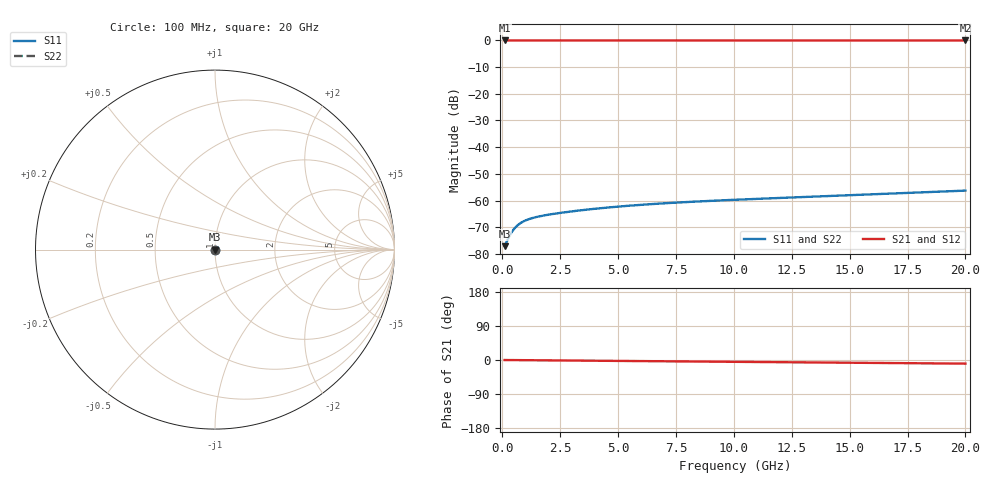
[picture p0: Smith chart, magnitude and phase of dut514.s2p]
! Touchstone file exported from HFSS 2026.1.0
!  File:  C:/ffzhzh/LocalFiles/Ansys_Project_Files/temp_train_TSV_514_1783023380_55676.aedt
!  Generated:  04:17:47 AM Jul  3, 2026
!  Design:  TSV
!  Project:  temp_train_TSV_514_1783023380_55676
! Variables:
!  h_bsmrdl = 2um
!  h_ox = 20um
!  h_rdl = 5um
!  h_sub = 98.72um
!  h_tmrdl = 5um
!  h_tsv = 98.72um
!  h_via = 3um
!  l_bsmrdl = 300um
!  l_sub = 421.92um
!  l_tmrdl = 200um
!  m_sub = 200um
!  pitch = 44.35um
!  r_tsv = 10.96um
!  s_tmrdl = 10um
!  w_bsmrdl = 18um
!  w_sub = 500um
!  w_tmrdl = 12um
!  x_tsv_center1 = 206um
!  x_tsv_center2 = 524um
!  x_tsv_center3 = 736um
!  x_tsv_center4 = 1054um
!  x_tsv_center5 = 1266um
!  x_tsv_center6 = 1584um
# GHz S MA R 50.000000
! Terminal data exported
! Port[1] = TSV1_1_T1
! Port[2] = TSV1_1_T2
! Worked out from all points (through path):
!   200 points, 100 MHz to 20 GHz, reference 50 ohm
!   highest |S21| = 0.00 dB at 100 MHz (marker M1); lowest = 0.0 dB at 20 GHz (marker M2)
!   group delay of S21, straight-line fit = 1.33 ps
!   lowest |S11| = -77.1 dB at 100 MHz (marker M3), VSWR 1.00, Z = 50 + j0.00484 ohm
!   |S11| at or under -10 dB: start of sweep to end of sweep
!   |S22| runs from -77.1 to -56.3 dB; largest |S21 - S12| = 4.3e-15
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0.1  0.0001395 20.3  0.9999 -0.1  0.9999 -0.1  0.0001395 20.3
! Gamma 0 0 0 0
! Port Impedance 50 0 50 0
0.3  0.0002133 38.5  0.9998 -0.2  0.9998 -0.2  0.0002133 38.5
0.4  0.000254 40.5  0.9998 -0.2  0.9998 -0.2  0.000254 40.5
0.5  0.0002917 40.6  0.9998 -0.3  0.9998 -0.3  0.0002917 40.6
0.6  0.0003255 39.8  0.9998 -0.3  0.9998 -0.3  0.0003255 39.8
0.7  0.000355 38.7  0.9997 -0.3  0.9997 -0.3  0.000355 38.7
0.8  0.0003807 37.4  0.9997 -0.4  0.9997 -0.4  0.0003807 37.4
1  0.0004227 34.9  0.9997 -0.5  0.9997 -0.5  0.0004227 34.9
1.1  0.00044 33.8  0.9996 -0.5  0.9996 -0.5  0.00044 33.8
1.3  0.0004693 32.0  0.9996 -0.6  0.9996 -0.6  0.0004694 32.0
1.5  0.0004937 30.4  0.9996 -0.7  0.9996 -0.7  0.0004938 30.4
1.8  0.0005249 28.7  0.9995 -0.9  0.9995 -0.9  0.000525 28.7
2.5  0.0005859 25.9  0.9995 -1.2  0.9995 -1.2  0.000586 25.9
3.5  0.0006636 22.9  0.9994 -1.7  0.9994 -1.7  0.0006637 22.9
4.3  0.0007215 20.4  0.9993 -2.1  0.9993 -2.1  0.0007216 20.4
5.1  0.0007754 17.7  0.9993 -2.5  0.9993 -2.5  0.0007755 17.7
6.8  0.0008765 11.6  0.9992 -3.3  0.9992 -3.3  0.0008767 11.6
8.3  0.0009531 6.3  0.9991 -4.0  0.9991 -4.0  0.0009534 6.3
10.1  0.001035 0.2  0.999 -4.9  0.999 -4.9  0.001036 0.2
13.4  0.001179 -10.0  0.9988 -6.4  0.9988 -6.4  0.001179 -10.0
16.7  0.001337 -19.3  0.9987 -8.0  0.9987 -8.0  0.001339 -19.3
20  0.001535 -28.3  0.9985 -9.6  0.9985 -9.6  0.001537 -28.3
